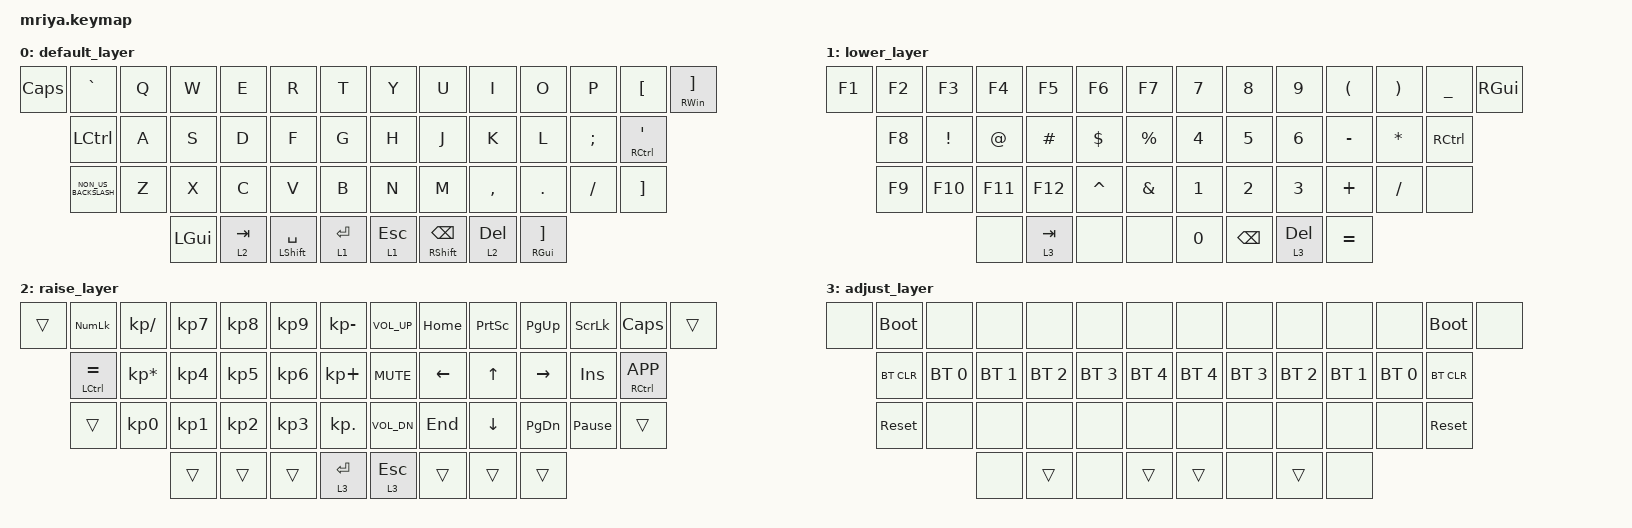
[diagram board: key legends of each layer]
/*
 * Copyright (c) 2023 Andrei Gaevskii
 *
 * SPDX-License-Identifier: MIT
 */

#include <behaviors.dtsi>
#include <dt-bindings/zmk/bt.h>
#include <dt-bindings/zmk/keys.h>

#define DEF 0
#define LWR 1
#define RSE 2
#define ADJ 3

&lt { quick_tap_ms = <200>; };

&mt { quick_tap_ms = <200>; };

/ {
    keymap {
        compatible = "zmk,keymap";

        default_layer {
            bindings = <
&kp CLCK  &kp GRAVE             &kp Q  &kp W     &kp E      &kp R            &kp T        &kp Y      &kp U           &kp I      &kp O                   &kp P     &kp LBKT       &mt RWIN RBKT
          &kp LCTRL             &kp A  &kp S     &kp D      &kp F            &kp G        &kp H      &kp J           &kp K      &kp L                   &kp SEMI  &mt RCTRL SQT
          &kp NON_US_BACKSLASH  &kp Z  &kp X     &kp C      &kp V            &kp B        &kp N      &kp M           &kp COMMA  &kp DOT                 &kp FSLH  &kp RBKT
                                       &kp LGUI  &lt 2 TAB  &mt LSHFT SPACE  &lt 1 RET    &lt 1 ESC  &mt RSHFT BSPC  &lt 2 DEL  &mt RGUI RIGHT_BRACKET
            >;
        };

        lower_layer {
            bindings = <
&kp F1  &kp F2  &kp F3    &kp F4   &kp F5     &kp F6     &kp F7           &kp NUMBER_7  &kp NUMBER_8   &kp NUMBER_9  &kp LEFT_PARENTHESIS  &kp RIGHT_PARENTHESIS  &kp UNDERSCORE     &kp RIGHT_GUI
        &kp F8  &kp EXCL  &kp AT   &kp HASH   &kp DLLR   &kp PRCNT        &kp N4        &kp NUMBER_5   &kp N6        &kp MINUS             &kp ASTERISK           &kp RIGHT_CONTROL
        &kp F9  &kp F10   &kp F11  &kp F12    &kp CARET  &kp AMPERSAND    &kp N1        &kp N2         &kp N3        &kp PLUS              &kp SLASH              &none
                          &none    &lt 3 TAB  &none      &none            &kp N0        &kp BACKSPACE  &lt 3 DEL     &kp EQUAL
            >;
        };

        raise_layer {
            bindings = <
&trans  &kp KP_NUM       &kp KP_SLASH     &kp KP_N7  &kp KP_N8  &kp KP_N9  &kp KP_MINUS    &kp C_VOL_UP  &kp HOME  &kp PSCRN  &kp PG_UP  &kp SLCK         &kp CAPS         &trans
        &mt LCTRL EQUAL  &kp KP_MULTIPLY  &kp KP_N4  &kp KP_N5  &kp KP_N6  &kp KP_PLUS     &kp C_MUTE    &kp LEFT  &kp UP     &kp RIGHT  &kp INS          &mt RCTRL K_APP
        &trans           &kp KP_N0        &kp KP_N1  &kp KP_N2  &kp KP_N3  &kp KP_DOT      &kp C_VOL_DN  &kp END   &kp DOWN   &kp PG_DN  &kp PAUSE_BREAK  &trans
                                          &trans     &trans     &trans     &lt 3 RET       &lt 3 ESC     &trans    &trans     &trans
            >;
        };

        adjust_layer {
            bindings = <
&none  &bootloader  &none         &none         &none         &none         &none           &none         &none         &none         &none         &none         &bootloader  &none
       &bt BT_CLR   &bt BT_SEL 0  &bt BT_SEL 1  &bt BT_SEL 2  &bt BT_SEL 3  &bt BT_SEL 4    &bt BT_SEL 4  &bt BT_SEL 3  &bt BT_SEL 2  &bt BT_SEL 1  &bt BT_SEL 0  &bt BT_CLR
       &sys_reset   &none         &none         &none         &none         &none           &none         &none         &none         &none         &none         &sys_reset
                                  &none         &trans        &none         &trans          &trans        &none         &trans        &none
            >;
        };
    };
};
